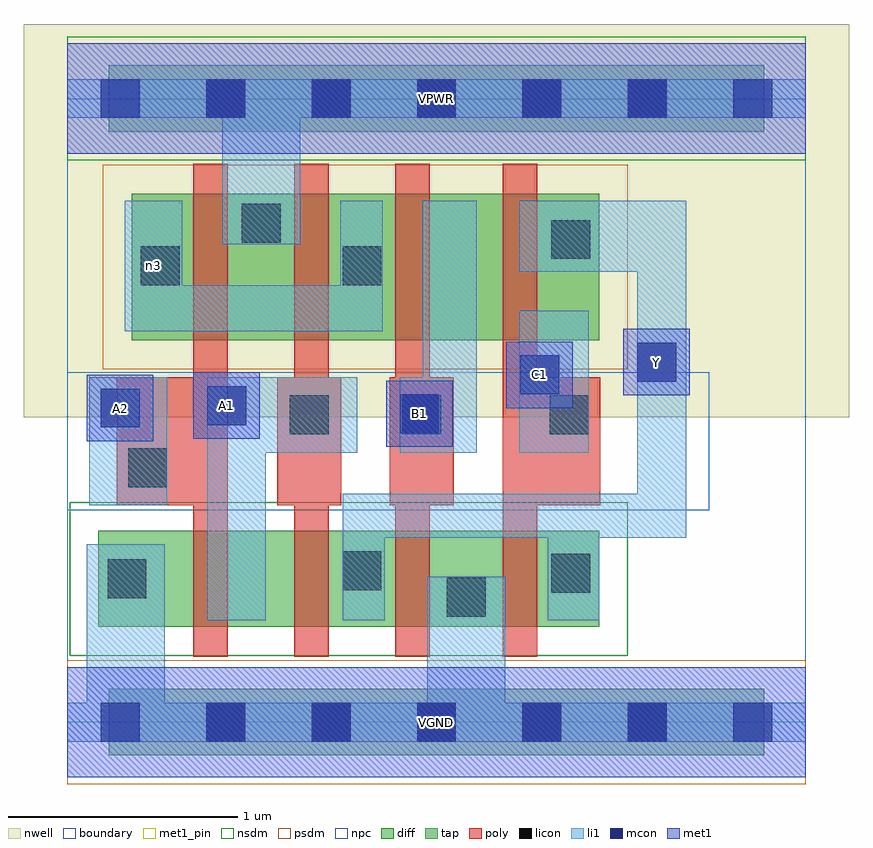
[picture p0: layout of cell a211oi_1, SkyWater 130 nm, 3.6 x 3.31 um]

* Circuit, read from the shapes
.subckt a211oi_1 A1 A2 B1 C1 VGND VPWR Y n3
XM1 n1 A2 VGND VGND sky130_fd_pr__nfet_01v8 w=0.42 l=0.15
XM2 Y A1 n1 VGND sky130_fd_pr__nfet_01v8 w=0.42 l=0.15
XM3 VGND B1 Y VGND sky130_fd_pr__nfet_01v8 w=0.42 l=0.15
XM4 Y C1 VGND VGND sky130_fd_pr__nfet_01v8 w=0.42 l=0.15
XM5 VPWR A2 n3 VPWR sky130_fd_pr__pfet_01v8 w=0.64 l=0.15
XM6 n3 A1 VPWR VPWR sky130_fd_pr__pfet_01v8 w=0.64 l=0.15
XM7 n2 B1 n3 VPWR sky130_fd_pr__pfet_01v8 w=0.64 l=0.15
XM8 Y C1 n2 VPWR sky130_fd_pr__pfet_01v8 w=0.64 l=0.15
.ends

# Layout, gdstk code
import gdstk
lib = gdstk.Library(unit=1e-6, precision=1e-09)
def R(c, l, rs):  # rectangles x0, y0, x1, y1
    for r in rs: c.add(gdstk.rectangle(r[:2], r[2:], *l))
def A(c, l, x, y, w, h, nx, ny, dx, dy):  # array of equal rectangles
    R(c, l, [(x+i*dx, y+j*dy, x+i*dx+w, y+j*dy+h) for i in range(nx) for j in range(ny)])
nwell = (64, 20)
diff = (65, 20)
tap = (65, 44)
poly = (66, 20)
licon = (66, 44)
li1 = (67, 20)
mcon = (67, 44)
met1_pin = (68, 16)
met1 = (68, 20)
nsdm = (93, 44)
psdm = (94, 20)
npc = (95, 20)
boundary = (235, 4)

a211oi_1 = lib.new_cell('a211oi_1')
R(a211oi_1, nwell, [(-0.19,1.33,3.41,3.045), (0,1.33,3.22,3.045)])
R(a211oi_1, diff, [(0.135,0.415,2.32,0.835), (0.28,1.665,2.32,2.305)])
R(a211oi_1, tap, [(0.18,-0.145,3.04,0.145), (0.18,2.575,3.04,2.865)])
A(a211oi_1, poly, 0.55, 0.285, 0.15, 2.15, 3, 1, 0.44, 0)
R(a211oi_1, poly, [(1.9,0.285,2.05,2.435), (0.215,0.945,0.7,1.505), (0.915,0.945,1.195,1.505), (1.405,0.945,1.685,1.505), (1.9,0.945,2.325,1.505)])
A(a211oi_1, licon, 0.605, -0.085, 0.17, 0.17, 5, 2, 0.46, 2.72)
R(a211oi_1, licon, [(1.655,0.46,1.825,0.63), (0.175,0.54,0.345,0.71), (2.11,0.565,2.28,0.735), (1.2,0.575,1.37,0.745), (0.265,1.025,0.435,1.195), (0.97,1.255,1.14,1.425), (1.46,1.255,1.63,1.425), (2.105,1.255,2.275,1.425), (0.32,1.905,0.49,2.075), (1.2,1.905,1.37,2.075), (2.11,2.02,2.28,2.19), (0.76,2.09,0.93,2.26)])
R(a211oi_1, li1, [(0,-0.085,3.22,0.085), (0.085,-0.085,0.425,0.775), (1.57,-0.085,1.91,0.635), (0.61,0.445,0.865,1.505), (1.2,0.445,1.385,0.995), (2.095,0.445,2.32,0.995), (1.2,0.805,2.7,0.995), (2.485,0.805,2.7,2.275), (0.095,0.945,0.435,1.505), (0.61,1.175,1.265,1.505), (1.45,1.175,1.785,1.505), (1.55,1.175,1.785,2.275), (1.97,1.175,2.275,1.795), (0.25,1.705,0.5,2.275), (0.25,1.705,1.375,1.905), (1.19,1.705,1.375,2.275), (1.97,1.965,2.7,2.275), (0.675,2.085,1.015,2.805), (0,2.635,3.22,2.805)])
A(a211oi_1, mcon, 0.145, -0.085, 0.17, 0.17, 7, 2, 0.46, 2.72)
R(a211oi_1, mcon, [(1.45,1.26,1.62,1.43), (0.145,1.285,0.315,1.455), (0.61,1.295,0.78,1.465), (1.975,1.43,2.145,1.6), (2.485,1.485,2.655,1.655)])
R(a211oi_1, met1_pin, [(0,-0.24,3.22,0.24), (1.39,1.2,1.68,1.49), (0.085,1.225,0.375,1.515), (0.55,1.235,0.84,1.525), (1.915,1.37,2.205,1.66), (2.425,1.425,2.715,1.715), (0,2.48,3.22,2.96)])
R(a211oi_1, met1, [(0,-0.24,3.22,0.24), (1.39,1.2,1.68,1.49), (0.085,1.225,0.375,1.515), (0.55,1.235,0.84,1.525), (1.915,1.37,2.205,1.66), (2.425,1.425,2.715,1.715), (0,2.48,3.22,2.96)])
R(a211oi_1, nsdm, [(0.01,0.29,2.445,0.96), (0,2.45,3.22,2.99)])
R(a211oi_1, psdm, [(0,-0.27,3.22,0.27), (0.155,1.54,2.445,2.43)])
R(a211oi_1, npc, [(0,0.925,2.8,1.525)])
R(a211oi_1, boundary, [(0,0,3.22,2.72)])
a211oi_1.add(gdstk.Label('n3', (0.375,1.99), layer=67, texttype=5))
a211oi_1.add(gdstk.Label('A1', (0.695,1.38), layer=68, texttype=5))
a211oi_1.add(gdstk.Label('A2', (0.23,1.37), layer=68, texttype=5))
a211oi_1.add(gdstk.Label('B1', (1.535,1.345), layer=68, texttype=5))
a211oi_1.add(gdstk.Label('C1', (2.06,1.515), layer=68, texttype=5))
a211oi_1.add(gdstk.Label('Y', (2.57,1.57), layer=68, texttype=5))
a211oi_1.add(gdstk.Label('VPWR', (1.61,2.72), layer=68, texttype=5))
a211oi_1.add(gdstk.Label('VGND', (1.61,0), layer=68, texttype=5))
a211oi_1.add(gdstk.Label('A1', (0.695,1.38), layer=68, texttype=16))
a211oi_1.add(gdstk.Label('A2', (0.23,1.37), layer=68, texttype=16))
a211oi_1.add(gdstk.Label('B1', (1.535,1.345), layer=68, texttype=16))
a211oi_1.add(gdstk.Label('C1', (2.06,1.515), layer=68, texttype=16))
a211oi_1.add(gdstk.Label('Y', (2.57,1.57), layer=68, texttype=16))
a211oi_1.add(gdstk.Label('VPWR', (1.61,2.72), layer=68, texttype=16))
a211oi_1.add(gdstk.Label('VGND', (1.61,0), layer=68, texttype=16))

lib.write_gds('a211oi_1.gds')
